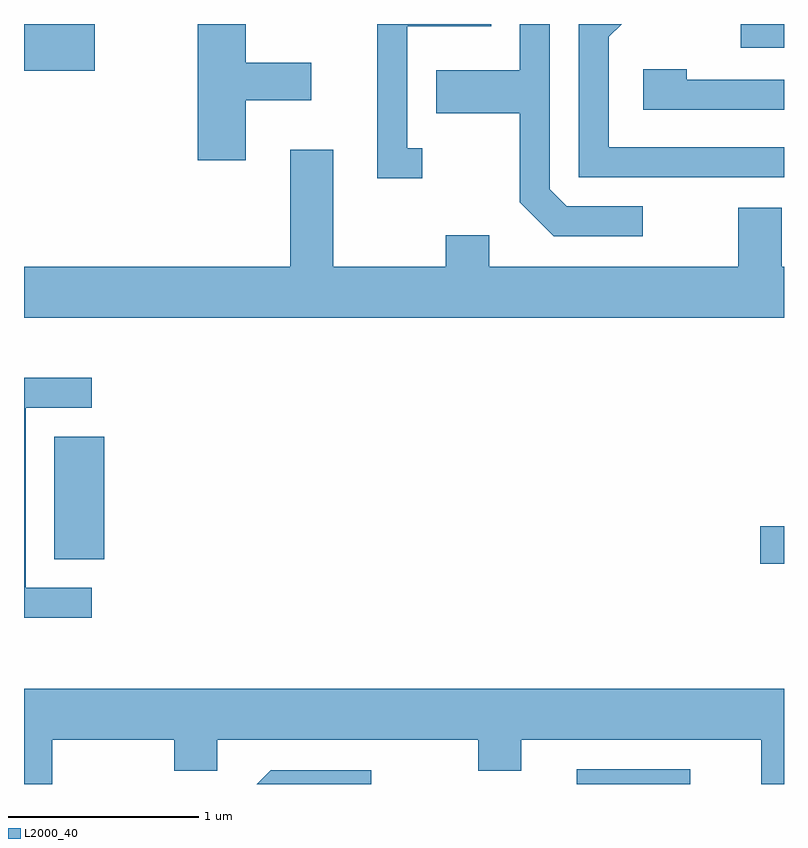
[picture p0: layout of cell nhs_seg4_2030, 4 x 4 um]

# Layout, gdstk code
import gdstk
lib = gdstk.Library(unit=1e-6, precision=1e-09)
def R(c, l, rs):  # rectangles x0, y0, x1, y1
    for r in rs: c.add(gdstk.rectangle(r[:2], r[2:], *l))
def P(c, l, *ps):  # polygons
    for p in ps: c.add(gdstk.Polygon(p, *l))
L2000_40 = (2000, 40)

nhs_seg4_2030 = lib.new_cell('nhs_seg4_2030')
R(nhs_seg4_2030, L2000_40, [(246.521,1369.982,247.118,1370.059), (247.486,1371.141,247.611,1371.339), (243.771,1371.166,244.034,1371.809), (243.611,1373.736,243.984,1373.982), (247.383,1373.856,247.611,1373.982)])
P(nhs_seg4_2030, L2000_40, [(245.708,1373.329),(245.629,1373.329),(245.629,1373.971),(246.069,1373.971),(246.069,1373.982),(245.471,1373.982),(245.471,1373.171),(245.708,1373.171)],
  [(247.611,1373.334),(246.689,1373.334),(246.689,1373.914),(246.758,1373.982),(246.531,1373.982),(246.531,1373.176),(247.611,1373.176)],
  [(246.868,1373.024),(246.467,1373.024),(246.379,1373.112),(246.379,1373.982),(246.221,1373.982),(246.221,1373.739),(245.781,1373.739),(245.781,1373.511),(246.221,1373.511),(246.221,1373.044),(246.399,1372.866),(246.868,1372.866)],
  [(244.779,1373.581),(245.124,1373.581),(245.124,1373.779),(244.779,1373.779),(244.779,1373.982),(244.526,1373.982),(244.526,1373.266),(244.779,1373.266)],
  [(247.611,1373.689),(247.099,1373.689),(247.099,1373.744),(246.871,1373.744),(246.871,1373.531),(247.611,1373.531)],
  [(247.611,1372.704),(247.599,1372.704),(247.599,1373.014),(247.371,1373.014),(247.371,1372.704),(246.059,1372.704),(246.059,1372.869),(245.831,1372.869),(245.831,1372.704),(245.239,1372.704),(245.239,1373.319),(245.011,1373.319),(245.011,1372.704),(243.611,1372.704),(243.611,1372.436),(247.611,1372.436)],
  [(243.968,1371.014),(243.619,1371.014),(243.619,1371.961),(243.968,1371.961),(243.968,1372.119),(243.611,1372.119),(243.611,1370.856),(243.968,1370.856)],
  [(243.759,1370.216),(244.401,1370.216),(244.401,1370.051),(244.629,1370.051),(244.629,1370.216),(246.001,1370.216),(246.001,1370.051),(246.229,1370.051),(246.229,1370.216),(247.491,1370.216),(247.491,1369.982),(247.611,1369.982),(247.611,1370.484),(243.611,1370.484),(243.611,1369.982),(243.759,1369.982)],
  [(245.438,1370.054),(244.909,1370.054),(244.837,1369.982),(245.438,1369.982)])

lib.write_gds('nhs_seg4_2030.gds')
